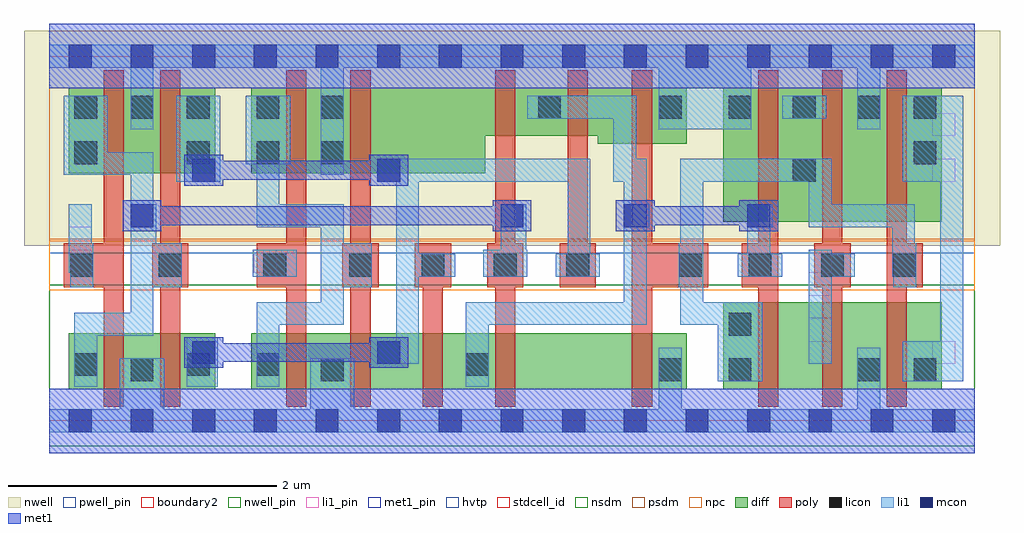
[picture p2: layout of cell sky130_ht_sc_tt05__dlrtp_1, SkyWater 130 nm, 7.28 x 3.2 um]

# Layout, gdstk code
import gdstk
lib = gdstk.Library(unit=1e-6, precision=1e-09)
def R(c, l, rs):  # rectangles x0, y0, x1, y1
    for r in rs: c.add(gdstk.rectangle(r[:2], r[2:], *l))
def A(c, l, x, y, w, h, nx, ny, dx, dy):  # array of equal rectangles
    R(c, l, [(x+i*dx, y+j*dy, x+i*dx+w, y+j*dy+h) for i in range(nx) for j in range(ny)])
def P(c, l, *ps):  # polygons
    for p in ps: c.add(gdstk.Polygon(p, *l))
nwell_pin = (64, 16)
nwell = (64, 20)
diff = (65, 20)
poly = (66, 20)
licon = (66, 44)
li1_pin = (67, 16)
li1 = (67, 20)
mcon = (67, 44)
met1_pin = (68, 16)
met1 = (68, 20)
hvtp = (78, 44)
stdcell_id = (81, 4)
nsdm = (93, 44)
psdm = (94, 20)
npc = (95, 20)
pwell_pin = (122, 16)
boundary2 = (236, 0)

sky130_ht_sc_tt05__dlrtp = lib.new_cell('sky130_ht_sc_tt05__dlrtp_1')
R(sky130_ht_sc_tt05__dlrtp, nwell_pin, [(0.145,2.635,0.315,2.805)])
R(sky130_ht_sc_tt05__dlrtp, nwell, [(-0.19,1.305,7.09,2.91)])
R(sky130_ht_sc_tt05__dlrtp, diff, [(0.145,0.235,1.235,0.655), (1.505,0.235,4.755,0.655), (5.025,0.235,6.655,0.885), (5.025,1.485,6.655,2.485), (0.145,1.845,1.235,2.485)])
P(sky130_ht_sc_tt05__dlrtp, diff, [(3.25,2.125),(4.09,2.125),(4.09,2.065),(4.755,2.065),(4.755,2.485),(1.505,2.485),(1.505,1.845),(3.25,1.845)])
P(sky130_ht_sc_tt05__dlrtp, poly, [(6.395,0.995),(6.515,0.995),(6.515,1.325),(6.395,1.325),(6.395,2.615),(6.245,2.615),(6.245,0.105),(6.395,0.105)],
  [(5.915,0.995),(5.975,0.995),(5.975,1.325),(5.915,1.325),(5.915,2.615),(5.765,2.615),(5.765,1.325),(5.705,1.325),(5.705,0.995),(5.765,0.995),(5.765,0.105),(5.915,0.105)],
  [(5.435,2.615),(5.285,2.615),(5.285,1.325),(5.165,1.325),(5.165,0.995),(5.285,0.995),(5.285,0.105),(5.435,0.105)],
  [(4.075,1.325),(4.015,1.325),(4.015,2.615),(3.865,2.615),(3.865,1.325),(3.805,1.325),(3.805,0.995),(4.075,0.995)],
  [(3.475,0.995),(3.535,0.995),(3.535,1.325),(3.475,1.325),(3.475,2.615),(3.325,2.615),(3.325,1.325),(3.265,1.325),(3.265,0.995),(3.325,0.995),(3.325,0.105),(3.475,0.105)],
  [(2.395,0.995),(2.455,0.995),(2.455,1.325),(2.395,1.325),(2.395,2.615),(2.245,2.615),(2.245,1.325),(2.185,1.325),(2.185,0.995),(2.245,0.995),(2.245,0.105),(2.395,0.105)],
  [(1.915,2.615),(1.765,2.615),(1.765,1.325),(1.545,1.325),(1.545,0.995),(1.765,0.995),(1.765,0.105),(1.915,0.105)],
  [(0.975,0.995),(1.035,0.995),(1.035,1.325),(0.975,1.325),(0.975,2.615),(0.825,2.615),(0.825,1.325),(0.765,1.325),(0.765,0.995),(0.825,0.995),(0.825,0.105),(0.975,0.105)],
  [(0.555,2.615),(0.405,2.615),(0.405,1.325),(0.105,1.325),(0.105,0.995),(0.405,0.995),(0.405,0.105),(0.555,0.105)],
  [(4.495,0.995),(4.915,0.995),(4.915,1.325),(4.495,1.325),(4.495,2.615),(4.345,2.615),(4.345,0.105),(4.495,0.105)],
  [(2.935,0.995),(2.995,0.995),(2.995,1.325),(2.725,1.325),(2.725,0.995),(2.785,0.995),(2.785,0.105),(2.935,0.105)])
A(sky130_ht_sc_tt05__dlrtp, licon, 2.235, 1.075, 0.17, 0.17, 4, 1, 0.54, 0)
A(sky130_ht_sc_tt05__dlrtp, licon, 5.215, 1.075, 0.17, 0.17, 3, 1, 0.54, 0)
A(sky130_ht_sc_tt05__dlrtp, licon, 0.185, 2.255, 0.17, 0.17, 3, 1, 0.42, 0)
A(sky130_ht_sc_tt05__dlrtp, licon, 5.065, 2.255, 0.17, 0.17, 3, 1, 0.48, 0)
R(sky130_ht_sc_tt05__dlrtp, licon, [(0.605,0.295,0.775,0.465), (2.025,0.295,2.195,0.465), (4.545,0.295,4.715,0.465), (5.065,0.295,5.235,0.465), (6.025,0.295,6.195,0.465), (6.445,0.295,6.615,0.465), (0.185,0.335,0.355,0.505), (1.025,0.335,1.195,0.505), (1.545,0.335,1.715,0.505), (3.105,0.335,3.275,0.505), (5.065,0.635,5.235,0.805), (0.155,1.075,0.325,1.245), (0.815,1.075,0.985,1.245), (1.595,1.075,1.765,1.245), (4.695,1.075,4.865,1.245), (5.545,1.785,5.715,1.955), (0.185,1.915,0.355,2.085), (1.025,1.915,1.195,2.085), (1.545,1.915,1.715,2.085), (2.025,1.915,2.195,2.085), (6.445,1.915,6.615,2.085), (1.545,2.255,1.715,2.425), (2.025,2.255,2.195,2.425), (3.645,2.255,3.815,2.425), (4.545,2.255,4.715,2.425), (6.445,2.255,6.615,2.425)])
A(sky130_ht_sc_tt05__dlrtp, li1_pin, 5.665, 0.425, 0.17, 0.17, 1, 3, 0, 0.34)
R(sky130_ht_sc_tt05__dlrtp, li1_pin, [(6.585,0.425,6.755,0.595), (0.145,1.105,0.315,1.275), (1.525,1.105,1.695,1.275), (0.145,1.445,0.315,1.615), (6.585,1.785,6.755,1.955), (6.585,2.125,6.755,2.295)])
R(sky130_ht_sc_tt05__dlrtp, li1, [(1.025,0.255,1.255,0.625), (1.515,1.075,1.845,1.275), (0.945,1.785,1.275,2.425), (5.465,2.255,5.795,2.425)])
P(sky130_ht_sc_tt05__dlrtp, li1, [(2.195,2.635),(4.545,2.635),(4.545,2.175),(5.235,2.175),(5.235,2.635),(6.025,2.635),(6.025,2.175),(6.195,2.175),(6.195,2.635),(6.9,2.635),(6.9,2.805),(0,2.805),(0,2.635),(0.605,2.635),(0.605,2.175),(0.775,2.175),(0.775,2.635),(2.025,2.635),(2.025,1.835),(2.195,1.835)],
  [(6.365,2.425),(6.365,1.785),(6.645,1.785),(6.645,0.595),(6.365,0.595),(6.365,0.295),(6.815,0.295),(6.815,2.425)],
  [(0.355,0.635),(0.775,0.635),(0.775,0.995),(0.985,0.995),(0.985,1.325),(0.795,1.325),(0.795,1.615),(0.775,1.615),(0.775,2.005),(0.435,2.005),(0.435,2.425),(0.105,2.425),(0.105,1.835),(0.605,1.835),(0.605,0.805),(0.185,0.805),(0.185,0.255),(0.355,0.255)],
  [(3.275,0.715),(4.455,0.715),(4.455,1.445),(4.475,1.445),(4.475,1.615),(4.455,1.615),(4.455,1.955),(4.375,1.955),(4.375,2.425),(3.565,2.425),(3.565,2.255),(4.205,2.255),(4.205,1.785),(4.285,1.785),(4.285,0.885),(3.105,0.885),(3.105,0.255),(3.275,0.255)],
  [(1.715,0.715),(2.195,0.715),(2.195,0.995),(2.405,0.995),(2.405,1.325),(2.195,1.325),(2.195,1.615),(1.715,1.615),(1.715,1.915),(1.795,1.915),(1.795,2.425),(1.465,2.425),(1.465,1.915),(1.545,1.915),(1.545,1.445),(2.025,1.445),(2.025,0.885),(1.545,0.885),(1.545,0.255),(1.715,0.255)],
  [(5.315,0.885),(4.875,0.885),(4.875,1.785),(5.665,1.785),(5.665,1.445),(6.285,1.445),(6.285,1.075),(6.295,1.075),(6.295,0.995),(6.465,0.995),(6.465,1.325),(6.455,1.325),(6.455,1.615),(5.835,1.615),(5.835,1.955),(4.705,1.955),(4.705,1.325),(4.695,1.325),(4.695,0.995),(4.705,0.995),(4.705,0.715),(4.985,0.715),(4.985,0.295),(5.315,0.295)],
  [(2.755,1.075),(3.025,1.075),(3.025,1.245),(2.755,1.245),(2.755,1.785),(3.865,1.785),(3.865,1.245),(3.775,1.245),(3.775,1.075),(4.105,1.075),(4.105,1.245),(4.035,1.245),(4.035,1.955),(2.445,1.955),(2.445,1.785),(2.585,1.785),(2.585,0.595),(2.445,0.595),(2.445,0.425),(2.755,0.425)],
  [(5.465,1.245),(5.375,1.245),(5.375,1.445),(5.395,1.445),(5.395,1.615),(5.205,1.615),(5.205,1.245),(5.135,1.245),(5.135,1.075),(5.465,1.075)],
  [(3.565,1.275),(3.555,1.275),(3.555,1.615),(3.365,1.615),(3.365,1.275),(3.235,1.275),(3.235,1.075),(3.565,1.075)],
  [(0.325,1.325),(0.315,1.325),(0.315,1.615),(0.145,1.615),(0.145,1.105),(0.155,1.105),(0.155,0.995),(0.325,0.995)],
  [(5.835,1.075),(6.005,1.075),(6.005,1.245),(5.835,1.245),(5.835,1.275),(5.665,1.275),(5.665,0.425),(5.835,0.425)],
  [(6.9,0.085),(6.195,0.085),(6.195,0.545),(6.025,0.545),(6.025,0.085),(4.715,0.085),(4.715,0.545),(4.545,0.545),(4.545,0.085),(2.275,0.085),(2.275,0.465),(1.945,0.465),(1.945,0.085),(0.855,0.085),(0.855,0.465),(0.525,0.465),(0.525,0.085),(0,0.085),(0,-0.085),(6.9,-0.085)])
A(sky130_ht_sc_tt05__dlrtp, mcon, 0.145, -0.085, 0.17, 0.17, 15, 2, 0.46, 2.72)
A(sky130_ht_sc_tt05__dlrtp, mcon, 3.365, 1.445, 0.17, 0.17, 3, 1, 0.92, 0)
R(sky130_ht_sc_tt05__dlrtp, mcon, [(1.065,0.425,1.235,0.595), (2.445,0.425,2.615,0.595), (0.605,1.445,0.775,1.615), (1.065,1.785,1.235,1.955), (2.445,1.785,2.615,1.955)])
R(sky130_ht_sc_tt05__dlrtp, met1_pin, [(0.145,-0.085,0.315,0.085), (0.145,2.635,0.315,2.805)])
P(sky130_ht_sc_tt05__dlrtp, met1, [(1.295,1.8),(2.385,1.8),(2.385,1.755),(2.675,1.755),(2.675,1.985),(2.385,1.985),(2.385,1.94),(1.295,1.94),(1.295,1.985),(1.005,1.985),(1.005,1.755),(1.295,1.755)],
  [(0.835,1.46),(3.305,1.46),(3.305,1.415),(3.595,1.415),(3.595,1.645),(3.305,1.645),(3.305,1.6),(0.835,1.6),(0.835,1.645),(0.545,1.645),(0.545,1.415),(0.835,1.415)],
  [(5.145,1.645),(5.145,1.6),(4.515,1.6),(4.515,1.645),(4.225,1.645),(4.225,1.415),(4.515,1.415),(4.515,1.46),(5.145,1.46),(5.145,1.415),(5.435,1.415),(5.435,1.645)],
  [(1.295,0.44),(2.385,0.44),(2.385,0.395),(2.675,0.395),(2.675,0.625),(2.385,0.625),(2.385,0.58),(1.295,0.58),(1.295,0.625),(1.005,0.625),(1.005,0.395),(1.295,0.395)])
R(sky130_ht_sc_tt05__dlrtp, hvtp, [(0,1.25,6.9,2.72)])
R(sky130_ht_sc_tt05__dlrtp, stdcell_id, [(0,0,6.9,2.72)])
R(sky130_ht_sc_tt05__dlrtp, nsdm, [(0,-0.19,6.9,1.015)])
R(sky130_ht_sc_tt05__dlrtp, psdm, [(0,1.355,6.9,2.91)])
R(sky130_ht_sc_tt05__dlrtp, npc, [(0,0.975,6.9,1.345)])
R(sky130_ht_sc_tt05__dlrtp, pwell_pin, [(0.145,-0.085,0.315,0.085)])
R(sky130_ht_sc_tt05__dlrtp, boundary2, [(0,0,6.9,2.72)])
sky130_ht_sc_tt05__dlrtp.add(gdstk.FlexPath([(0,0),(6.9,0)], 0.48, ends="flush", simple_path=True, layer=68, datatype=20))  # met1
sky130_ht_sc_tt05__dlrtp.add(gdstk.FlexPath([(0,2.72),(6.9,2.72)], 0.48, ends="flush", simple_path=True, layer=68, datatype=20))  # met1

lib.write_gds('sky130_ht_sc_tt05__dlrtp_1.gds')
